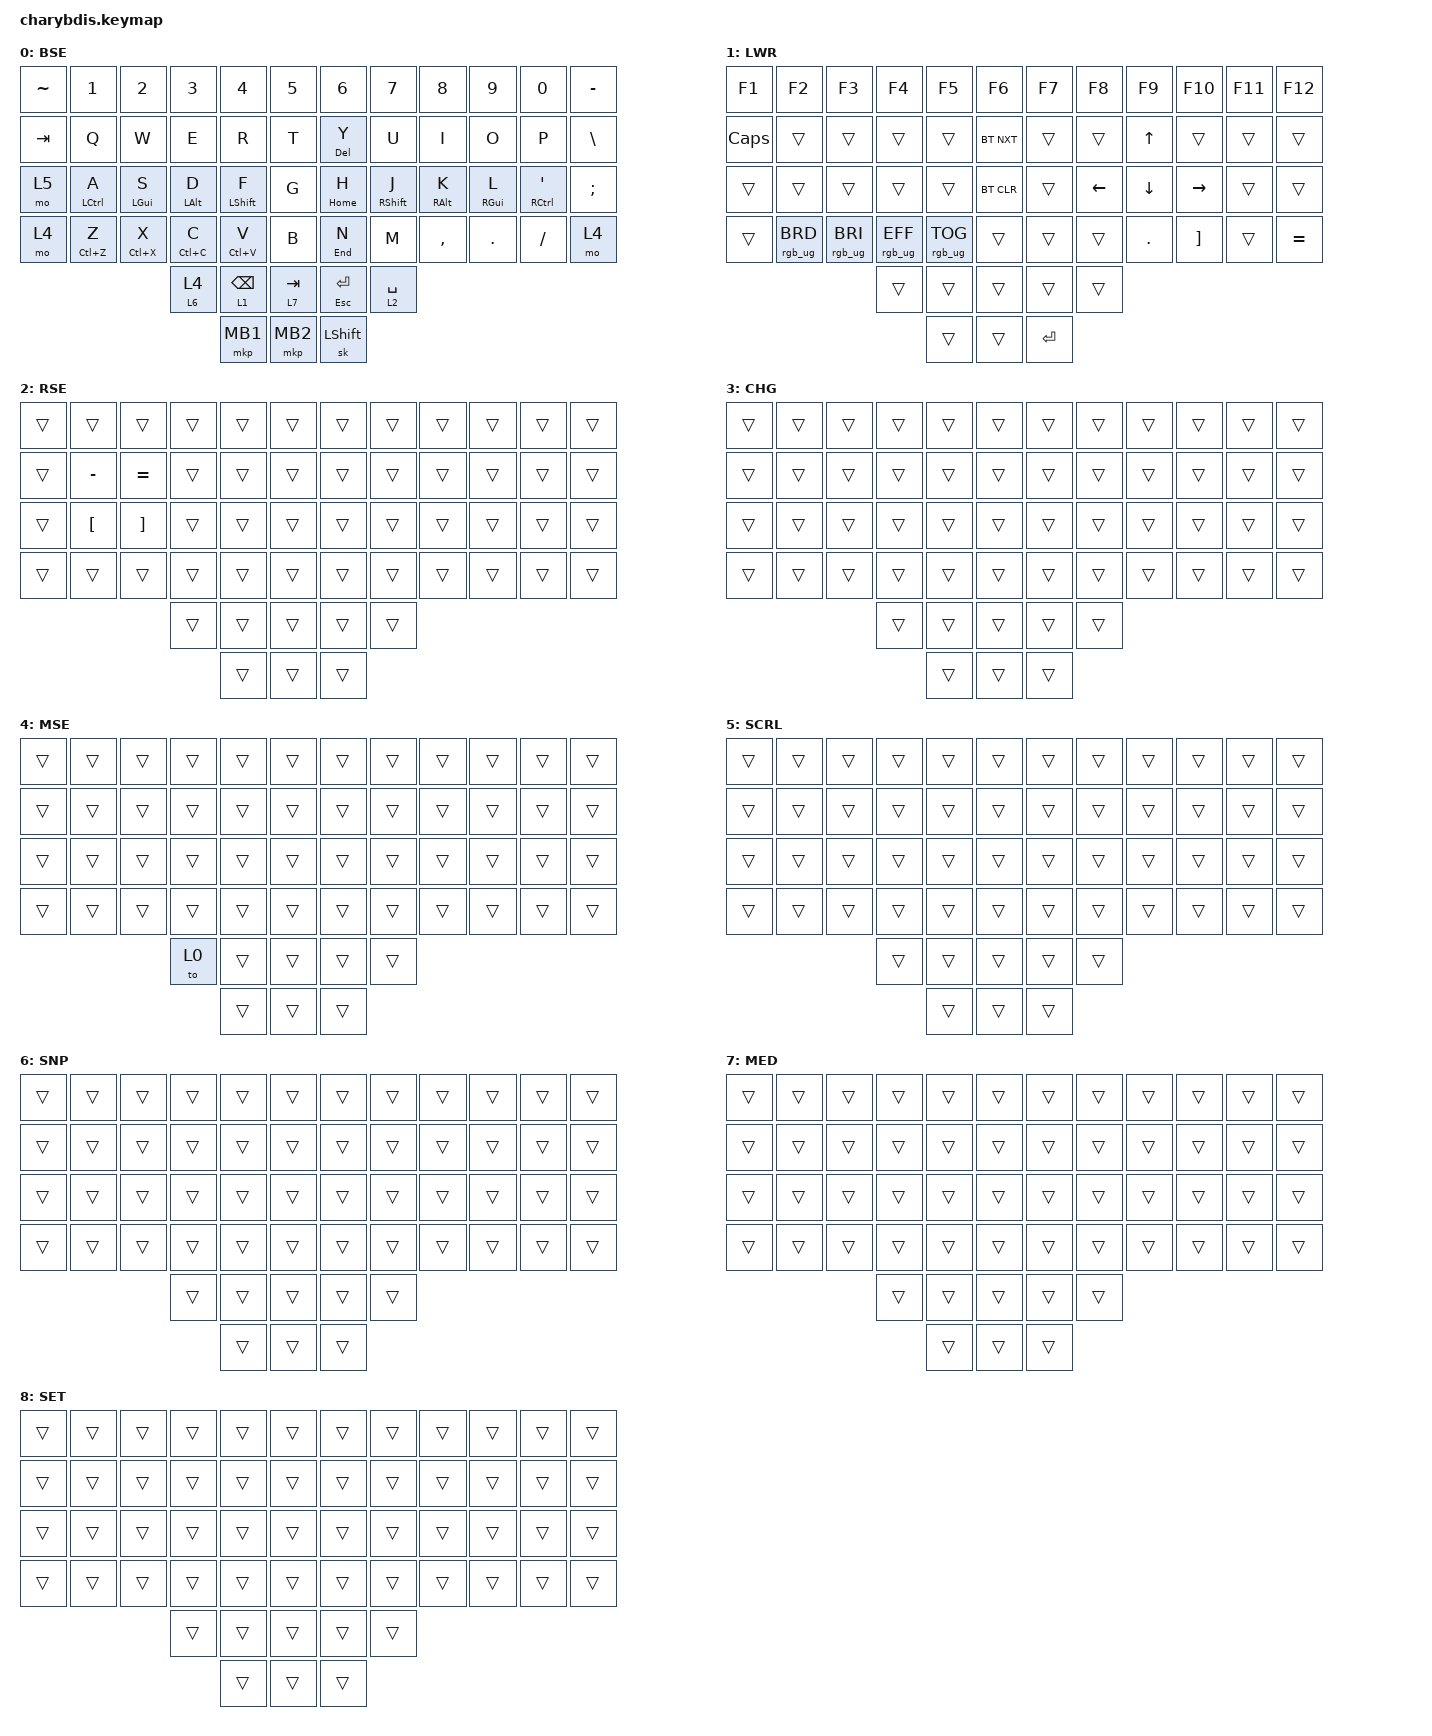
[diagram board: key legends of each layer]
#include <dt-bindings/zmk/mouse.h>
#include <behaviors.dtsi>
#include <dt-bindings/zmk/bt.h>
#include <dt-bindings/zmk/keys.h>
#include <dt-bindings/zmk/pointing.h>
#include <dt-bindings/zmk/rgb.h>

&lt {
    tapping-term-ms = <150>;
    flavor = "balanced";
    quick-tap-ms = <100>;
    require-prior-idle-ms = <70>;
    hold-while-undecided;
    hold-trigger-on-release;
    hold-trigger-key-positions = <36 49 52 47>;
};

/ {
    combos {
        compatible = "zmk,combos";

        select_all {
            bindings = <&kp LC(A)>;
            key-positions = <13 14>;
            layers = <0 3>;
        };

        lh_lclick {
            bindings = <&mkp MB1>;
            key-positions = <40 39>;
            layers = <0 3>;
        };

        lh_rclick {
            bindings = <&mkp MB2>;
            key-positions = <39 38>;
            layers = <0 3>;
        };

        lh_mclick {
            bindings = <&mkp MB3>;
            key-positions = <40 39 38>;
            layers = <0 3>;
        };

        rh_lclick {
            bindings = <&mkp MB1>;
            key-positions = <43 44>;
            layers = <0 3>;
        };

        rh_rclick {
            bindings = <&mkp MB2>;
            key-positions = <44 45>;
            layers = <0 3>;
        };

        rh_mclick {
            bindings = <&mkp MB3>;
            key-positions = <43 44 45>;
            layers = <0 3>;
        };
    };

    behaviors {
        HRM_L: HRM_L {
            compatible = "zmk,behavior-hold-tap";
            label = "HRM_L";
            bindings = <&kp>, <&kp>;

            #binding-cells = <2>;
            tapping-term-ms = <150>;
            quick-tap-ms = <100>;
            require-prior-idle-ms = <50>;
            flavor = "balanced";
            hold-trigger-key-positions = <25 26 27 28>;
            hold-trigger-on-release;
        };

        HRM_R: HRM_R {
            compatible = "zmk,behavior-hold-tap";
            label = "HRM_R";
            bindings = <&kp>, <&kp>;

            #binding-cells = <2>;
            tapping-term-ms = <150>;
            quick-tap-ms = <100>;
            require-prior-idle-ms = <50>;
            flavor = "balanced";
            hold-trigger-key-positions = <31 32 33 34>;
            hold-trigger-on-release;
        };

        LAYER_SWITCH: LAYER_SWITCH {
            compatible = "zmk,behavior-hold-tap";
            label = "LAYER_SWITCH";
            bindings = <&mo>, <&to>;

            #binding-cells = <2>;
            hold-trigger-key-positions = <48>;
            flavor = "balanced";
            tapping-term-ms = <200>;
            quick-tap-ms = <120>;
            require-prior-idle-ms = <60>;
        };
    };

    keymap {
        compatible = "zmk,keymap";

        Base {
            bindings = <
&kp TILDE  &kp N1                 &kp N2             &kp N3             &kp N4               &kp N5       &kp N6          &kp N7                &kp N8              &kp N9              &kp N0                     &kp MINUS
&kp TAB    &kp Q                  &kp W              &kp E              &kp R                &kp T        &mt DEL Y       &kp U                 &kp I               &kp O               &kp P                      &kp BSLH
&mo 5      &HRM_L LEFT_CONTROL A  &HRM_L LEFT_GUI S  &HRM_L LEFT_ALT D  &HRM_L LEFT_SHIFT F  &kp G        &mt HOME H      &HRM_R RIGHT_SHIFT J  &HRM_R RIGHT_ALT K  &HRM_R RIGHT_GUI L  &HRM_R RIGHT_CONTROL APOS  &kp SEMICOLON
&mo 4      &mt LC(Z) Z            &mt LC(X) X        &mt LC(C) C        &mt LC(V) V          &kp B        &mt END N       &kp M                 &kp COMMA           &kp PERIOD          &kp FSLH                   &mo 4
                                                     &LAYER_SWITCH 6 4  &lt 1 BACKSPACE      &lt 7 TAB    &mt ESCAPE RET  &lt 2 SPACE
                                                                        &mkp MB1             &mkp MB2     &sk LEFT_SHIFT
            >;

            trackball-bindings = <&tmv_coarse>;
            label = "BSE";
        };

        Lower {
            bindings = <
&kp F1    &kp F2           &kp F3           &kp F4           &kp F5           &kp F6        &kp F7     &kp F8    &kp F9      &kp F10            &kp F11  &kp F12
&kp CAPS  &trans           &trans           &trans           &trans           &bt BT_NXT    &trans     &trans    &kp UP      &trans             &trans   &trans
&trans    &trans           &trans           &trans           &trans           &bt BT_CLR    &trans     &kp LEFT  &kp DOWN    &kp RIGHT          &trans   &trans
&trans    &rgb_ug RGB_BRD  &rgb_ug RGB_BRI  &rgb_ug RGB_EFF  &rgb_ug RGB_TOG  &trans        &trans     &trans    &kp PERIOD  &kp RIGHT_BRACKET  &trans   &kp EQUAL
                                            &trans           &trans           &trans        &trans     &trans
                                                             &trans           &trans        &kp ENTER
            >;

            trackball-bindings = <&tsl>;
            label = "LWR";
        };

        Raise {
            bindings = <
&trans  &trans            &trans             &trans  &trans  &trans    &trans  &trans  &trans  &trans  &trans  &trans
&trans  &kp MINUS         &kp EQUAL          &trans  &trans  &trans    &trans  &trans  &trans  &trans  &trans  &trans
&trans  &kp LEFT_BRACKET  &kp RIGHT_BRACKET  &trans  &trans  &trans    &trans  &trans  &trans  &trans  &trans  &trans
&trans  &trans            &trans             &trans  &trans  &trans    &trans  &trans  &trans  &trans  &trans  &trans
                                             &trans  &trans  &trans    &trans  &trans
                                                     &trans  &trans    &trans
            >;

            label = "RSE";
        };

        Change {
            bindings = <
&trans  &trans  &trans  &trans  &trans  &trans    &trans  &trans  &trans  &trans  &trans  &trans
&trans  &trans  &trans  &trans  &trans  &trans    &trans  &trans  &trans  &trans  &trans  &trans
&trans  &trans  &trans  &trans  &trans  &trans    &trans  &trans  &trans  &trans  &trans  &trans
&trans  &trans  &trans  &trans  &trans  &trans    &trans  &trans  &trans  &trans  &trans  &trans
                        &trans  &trans  &trans    &trans  &trans
                                &trans  &trans    &trans
            >;

            label = "CHG";
        };

        Mouse {
            bindings = <
&trans  &trans  &trans  &trans  &trans  &trans    &trans  &trans  &trans  &trans  &trans  &trans
&trans  &trans  &trans  &trans  &trans  &trans    &trans  &trans  &trans  &trans  &trans  &trans
&trans  &trans  &trans  &trans  &trans  &trans    &trans  &trans  &trans  &trans  &trans  &trans
&trans  &trans  &trans  &trans  &trans  &trans    &trans  &trans  &trans  &trans  &trans  &trans
                        &to 0   &trans  &trans    &trans  &trans
                                &trans  &trans    &trans
            >;

            label = "MSE";
        };

        Scroll {
            bindings = <
&trans  &trans  &trans  &trans  &trans  &trans    &trans  &trans  &trans  &trans  &trans  &trans
&trans  &trans  &trans  &trans  &trans  &trans    &trans  &trans  &trans  &trans  &trans  &trans
&trans  &trans  &trans  &trans  &trans  &trans    &trans  &trans  &trans  &trans  &trans  &trans
&trans  &trans  &trans  &trans  &trans  &trans    &trans  &trans  &trans  &trans  &trans  &trans
                        &trans  &trans  &trans    &trans  &trans
                                &trans  &trans    &trans
            >;

            label = "SCRL";
        };

        Snipe {
            bindings = <
&trans  &trans  &trans  &trans  &trans  &trans    &trans  &trans  &trans  &trans  &trans  &trans
&trans  &trans  &trans  &trans  &trans  &trans    &trans  &trans  &trans  &trans  &trans  &trans
&trans  &trans  &trans  &trans  &trans  &trans    &trans  &trans  &trans  &trans  &trans  &trans
&trans  &trans  &trans  &trans  &trans  &trans    &trans  &trans  &trans  &trans  &trans  &trans
                        &trans  &trans  &trans    &trans  &trans
                                &trans  &trans    &trans
            >;

            label = "SNP";
        };

        Media {
            bindings = <
&trans  &trans  &trans  &trans  &trans  &trans    &trans  &trans  &trans  &trans  &trans  &trans
&trans  &trans  &trans  &trans  &trans  &trans    &trans  &trans  &trans  &trans  &trans  &trans
&trans  &trans  &trans  &trans  &trans  &trans    &trans  &trans  &trans  &trans  &trans  &trans
&trans  &trans  &trans  &trans  &trans  &trans    &trans  &trans  &trans  &trans  &trans  &trans
                        &trans  &trans  &trans    &trans  &trans
                                &trans  &trans    &trans
            >;

            label = "MED";
        };

        Settings {
            bindings = <
&trans  &trans  &trans  &trans  &trans  &trans    &trans  &trans  &trans  &trans  &trans  &trans
&trans  &trans  &trans  &trans  &trans  &trans    &trans  &trans  &trans  &trans  &trans  &trans
&trans  &trans  &trans  &trans  &trans  &trans    &trans  &trans  &trans  &trans  &trans  &trans
&trans  &trans  &trans  &trans  &trans  &trans    &trans  &trans  &trans  &trans  &trans  &trans
                        &trans  &trans  &trans    &trans  &trans
                                &trans  &trans    &trans
            >;

            label = "SET";
        };

        /* layer_2 {
            bindings = <
&none  &none   &none    &none   &none         &none         &kp N1         &none         &none     &none  &none   &to 0
&none  &none   &none    &none   &none         &none         &none         &none          &rgb_ug RGB_BRD &rgb_ug RGB_BRI  &rgb_ug RGB_EFF   &rgb_ug RGB_TOG
&none  &none   &none    &none   &none         &none         &none         &mkp LCLK     &mkp RCLK  &none  &none   &none
&none  &none   &none    &none   &bt BT_NXT  &bt BT_CLR    &none         &none         &none     &none  &none   &none
                                   &none         &none         &none         &none         &none
                                                 &none         &none         &none
            >;
          trackball-bindings = <&tsl>;
            
        };

       Mouse {
            bindings = <
&none        &none         &none         &none         &none      &none         &none       &none      &none         &none         &none         &none
&none        &bt BT_SEL 0  &bt BT_SEL 1  &bt BT_SEL 3  &none      &bt BT_CLR    &bt BT_CLR  &none      &bt BT_SEL 2  &bt BT_SEL 1  &bt BT_SEL 0  &none
&none        &trans        &trans        &mkp MCLK     &trans     &none         &none       &trans     &mkp MCLK     &trans        &trans        &none
&bootloader  &trans        &mkp RCLK     &mo 4         &mkp LCLK  &mo 5         &mo 5       &mkp LCLK  &mo 4         &mkp RCLK     &trans        &bootloader
                                         &mo 5         &mkp LCLK  &mkp RCLK     &mkp RCLK   &mkp LCLK
                                                       &none      &trans        &trans
            >;

            
        };

        layer_4 {
            bindings = <
&trans  &trans  &trans     &trans     &trans     &trans       &trans     &trans     &trans     &trans     &trans  &trans
&trans  &trans  &trans     &trans     &trans     &trans       &trans     &trans     &trans     &trans     &trans  &trans
&trans  &trans  &trans     &mkp MCLK  &trans     &trans       &trans     &trans     &mkp MCLK  &trans     &trans  &trans
&trans  &trans  &mkp RCLK  &trans     &mkp LCLK  &trans       &trans     &mkp LCLK  &trans     &mkp RCLK  &trans  &trans
                           &trans     &mkp LCLK  &mkp RCLK    &mkp RCLK  &mkp LCLK
                                      &trans     &trans       &trans
            >;
                
                
                trackball-bindings = <&tsl>;
        };

        layer_5 {
            bindings = <
&trans  &trans  &trans     &trans     &trans     &trans       &trans     &trans     &trans     &trans     &trans  &trans
&trans  &trans  &trans     &trans     &trans     &trans       &trans     &trans     &trans     &trans     &trans  &trans
&trans  &trans  &trans     &mkp MCLK  &trans     &trans       &trans     &trans     &mkp MCLK  &trans     &trans  &trans
&trans  &trans  &mkp RCLK  &trans     &mkp LCLK  &trans       &trans     &mkp LCLK  &trans     &mkp RCLK  &trans  &trans
                           &trans     &mkp LCLK  &mkp RCLK    &mkp RCLK  &mkp LCLK
                                      &trans     &trans       &trans
            >;
                trackball-bindings = <&tmv_fine>;
                
        };*/
    };
};
